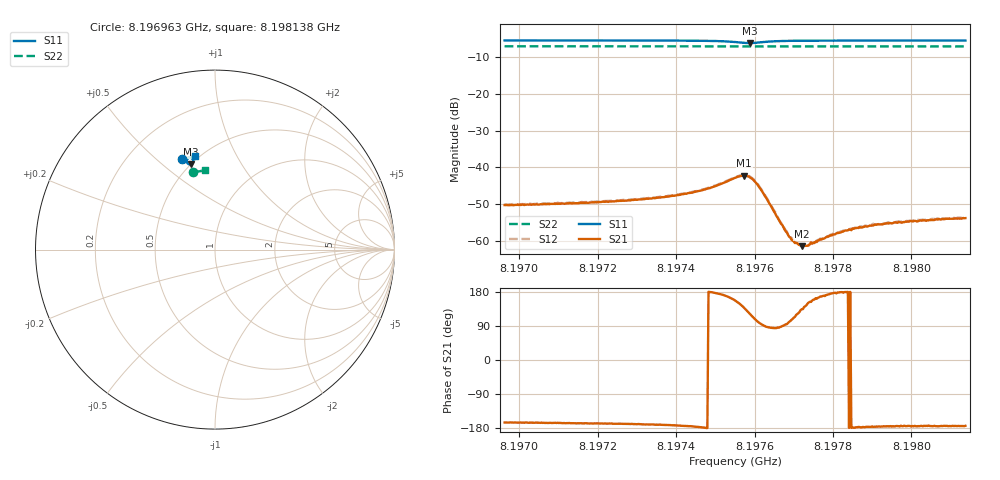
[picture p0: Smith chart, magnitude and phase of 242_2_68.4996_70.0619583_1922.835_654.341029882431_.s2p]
#  HZ  S  RI  R  50.00
! Rohde & Schwarz Vector Network Analyzer
! Rohde-Schwarz,ZNB20-2Port,1311601062101988,3.16
! Created: UTC 3/20/2024, 5:14:36 PM
! freq[Hz]  re:S11  im:S11  re:S21  im:S21  re:S12  im:S12  re:S22  im:S22
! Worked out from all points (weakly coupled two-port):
!   401 points, 8.196963 GHz to 8.198138 GHz, reference 50 ohm
!   highest |S21| = -42.23 dB at 8.197574 GHz (marker M1); lowest = -61.5 dB at 8.19772 GHz (marker M2)
!   lowest |S11| = -6.1 dB at 8.197588 GHz (marker M3), VSWR 2.95, Z = 25 + j31.4 ohm
!   |S11| at or under -10 dB: nowhere
!   |S22| runs from -7.1 to -7.0 dB; largest |S21 - S12| = 0.00035
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8.1969625e9  -0.1838 0.5034  -0.00295 -0.0008  -0.00303 -0.000679  -0.1203 0.4297
8.1971593e9  -0.1691 0.508  -0.00319 -0.00073  -0.00332 -0.000635  -0.1097 0.4322
8.1973561e9  -0.1522 0.512  -0.00384 -0.000634  -0.00391 -0.000481  -0.0985 0.4345
8.1974002e9  -0.1473 0.5125  -0.00411 -0.000525  -0.00422 -0.000382  -0.096 0.4351
8.1974619e9  -0.1388 0.512  -0.00481 -0.000222  -0.00491 -4.56e-05  -0.0925 0.4356
8.197503e9  -0.131 0.5095  -0.00561 0.000375  -0.00568 0.000625  -0.09 0.4359
8.19755e9  -0.121 0.4959  -0.00663 0.00279  -0.00666 0.00308  -0.0874 0.436
8.1975735e9  -0.1246 0.4809  -0.0057 0.00523  -0.0056 0.00552  -0.0865 0.4359
8.1975882e9  -0.135 0.4745  -0.00382 0.00622  -0.00367 0.00654  -0.0859 0.4357
8.1976e9  -0.145 0.4752  -0.00206 0.00611  -0.00187 0.00634  -0.0854 0.4361
8.1976147e9  -0.1536 0.4815  -0.000539 0.00509  -0.000328 0.00524  -0.0848 0.4363
8.1976646e9  -0.1549 0.5024  9.93e-05 0.00181  0.000209 0.00182  -0.082 0.4372
8.197691e9  -0.1513 0.5078  -0.000244 0.00108  -0.0002 0.0011  -0.0804 0.4376
8.1977087e9  -0.1488 0.5099  -0.00048 0.000791  -0.000389 0.000783  -0.0795 0.4378
8.1977204e9  -0.1471 0.5111  -0.000585 0.000606  -0.000578 0.000644  -0.0788 0.4378
8.1977351e9  -0.1453 0.5123  -0.00073 0.000443  -0.000734 0.000521  -0.078 0.4381
8.1977468e9  -0.1439 0.5132  -0.000848 0.000359  -0.000803 0.000413  -0.0774 0.4382
8.1977968e9  -0.1385 0.5157  -0.00117 8.87e-05  -0.0012 0.000158  -0.0744 0.4387
8.197835e9  -0.1346 0.5172  -0.00138 1.89e-05  -0.0014 2.4e-05  -0.0722 0.4389
8.1978967e9  -0.1292 0.5191  -0.0016 -9.76e-05  -0.00163 -6.88e-05  -0.0688 0.4394
8.1979437e9  -0.1251 0.52  -0.00173 -0.000148  -0.00173 -8.01e-05  -0.0661 0.4397
8.1981375e9  -0.11 0.5235  -0.00202 -0.000224  -0.00206 -0.000127  -0.0552 0.4409
